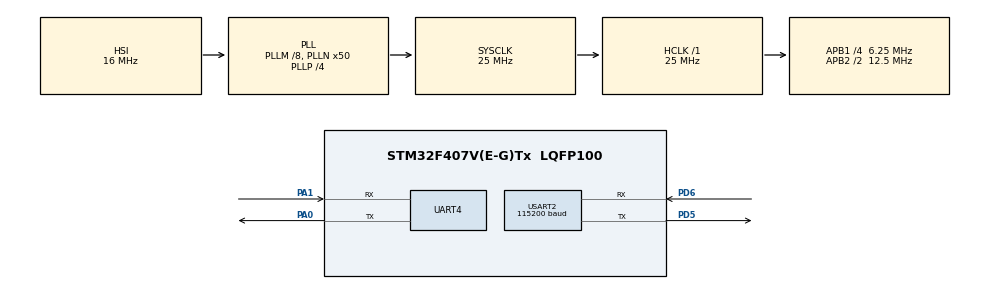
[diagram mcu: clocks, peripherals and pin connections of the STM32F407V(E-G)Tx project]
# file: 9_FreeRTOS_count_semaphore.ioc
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Mcu.Family=STM32F4
Mcu.Name=STM32F407V(E-G)Tx
Mcu.Package=LQFP100
NVIC.PriorityGroup=NVIC_PRIORITYGROUP_4
NVIC.TIM6_DAC_IRQn=true\:0\:0\:false\:false\:true\:false\:true
NVIC.TimeBase=TIM6_DAC_IRQn
NVIC.TimeBaseIP=TIM6
NVIC.UART4_IRQn=true\:6\:0\:true\:false\:true\:true\:true
NVIC.USART2_IRQn=true\:6\:0\:true\:false\:true\:true\:true
PA0-WKUP.Mode=Asynchronous
PA0-WKUP.Signal=UART4_TX
PA1.Mode=Asynchronous
PA1.Signal=UART4_RX
PA13.Mode=Serial_Wire
PA13.Signal=SYS_JTMS-SWDIO
PA14.Mode=Serial_Wire
PA14.Signal=SYS_JTCK-SWCLK
PD5.Mode=Asynchronous
PD5.Signal=USART2_TX
PD6.Mode=Asynchronous
PD6.Signal=USART2_RX
ProjectManager.HeapSize=0x200
ProjectManager.StackSize=0x400
ProjectManager.TargetToolchain=STM32CubeIDE
RCC.48MHZClocksFreq_Value=14285714.285714285
RCC.AHBFreq_Value=25000000
RCC.APB1CLKDivider=RCC_HCLK_DIV4
RCC.APB1Freq_Value=6250000
RCC.APB1TimFreq_Value=12500000
RCC.APB2CLKDivider=RCC_HCLK_DIV2
RCC.APB2Freq_Value=12500000
RCC.APB2TimFreq_Value=25000000
RCC.CortexFreq_Value=25000000
RCC.HCLKFreq_Value=25000000
RCC.HSE_VALUE=8000000
RCC.HSI_VALUE=16000000
RCC.LSE_VALUE=32768
RCC.PLLM=8
RCC.PLLN=50
RCC.PLLP=RCC_PLLP_DIV4
RCC.PLLQ=7
RCC.SYSCLKFreq_VALUE=25000000
RCC.SYSCLKSource=RCC_SYSCLKSOURCE_PLLCLK
RCC.VCOOutputFreq_Value=100000000
UART4.VirtualMode=Asynchronous
USART2.BaudRate=115200
USART2.VirtualMode=VM_ASYNC
VP_RTC_VS_RTC_Activate.Mode=RTC_Enabled
VP_SYS_VS_tim6.Mode=TIM6
board=STM32F407G-DISC1

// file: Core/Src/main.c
/* USER CODE BEGIN Header */
/**
  ******************************************************************************
  * @file           : main.c
  * @brief          : Main program body
  ******************************************************************************
  * @attention
  *
  * <h2><center>&copy; Copyright (c) 2023 STMicroelectronics.
  * All rights reserved.</center></h2>
  *
  * This software component is licensed by ST under BSD 3-Clause license,
  * the "License"; You may not use this file except in compliance with the
  * License. You may obtain a copy of the License at:
  *                        opensource.org/licenses/BSD-3-Clause
  *
  ******************************************************************************
  */
/* USER CODE END Header */
#include "main.h"

/* USER CODE BEGIN Includes */
#include <stdio.h>
#include "FreeRTOS.h"
#include "task.h"
#include "queue.h"
#include <string.h>
#include "stdbool.h"
#include "esp8266_driver.h"

/* USER CODE END Includes */

/* USER CODE BEGIN PM */
#define DWT_CTRL  (*(volatile uint32_t*) 0xE0001000 )  //BY:
#define STACK_SIZE 200
#define MEDIUM_PRI 2
#define HIGH_PRI 3
/* USER CODE END PM */

RTC_HandleTypeDef hrtc;

UART_HandleTypeDef huart4;
UART_HandleTypeDef huart2;

void SystemClock_Config(void);
static void MX_GPIO_Init(void);
static void MX_RTC_Init(void);
static void MX_USART2_UART_Init(void);
static void MX_UART4_Init(void);
/* USER CODE BEGIN PFP */

/*
volatile uint8_t index_of_UART_data = 0;
volatile uint8_t receiving_data_from_USART_2;
volatile uint8_t receiving_data_from_USART_4;
volatile char received_command_from_UART[LOG_MAX_COMMAND_LENGTH];*/

TaskHandle_t GS_task_handle = NULL;    // Task i tutan bir address. vTaskDelete( xHandle );
TaskHandle_t FB_task_handle = NULL;    // xTaskGetHandle("Command_handling_task") bu yemedi notify gönderemedim
TaskHandle_t User_interface_task_handle = NULL;
TaskHandle_t Command_task_handle = NULL;

/* USER CODE END PFP */

int main(void)
{

  /* MCU Configuration--------------------------------------------------------*/

  /* Reset of all peripherals, Initializes the Flash interface and the Systick. */
  HAL_Init();

  /* Configure the system clock */
  SystemClock_Config();

  /* Initialize all configured peripherals */
  MX_GPIO_Init();
  MX_RTC_Init();
  MX_USART2_UART_Init();
  MX_UART4_Init();
  /* USER CODE BEGIN 2 */
  DWT_CTRL |= 1;

  SEGGER_SYSVIEW_Conf();
  SEGGER_SYSVIEW_Start();

  init_esp8266(STATION_MODE);

  queue_create();
  task_create();

  enable_UART_IT(&huart2);
  enable_UART_IT(&huart4);

  vTaskStartScheduler();   // schedular ı başlat
  /* USER CODE END 2 */

  /* Infinite loop */
  while (1)
  {

  }
}

void SystemClock_Config(void)
{
  RCC_OscInitTypeDef RCC_OscInitStruct = {0};
  RCC_ClkInitTypeDef RCC_ClkInitStruct = {0};
  RCC_PeriphCLKInitTypeDef PeriphClkInitStruct = {0};

  /** Configure the main internal regulator output voltage
  */
  __HAL_RCC_PWR_CLK_ENABLE();
  __HAL_PWR_VOLTAGESCALING_CONFIG(PWR_REGULATOR_VOLTAGE_SCALE1);
  /** Initializes the RCC Oscillators according to the specified parameters
  * in the RCC_OscInitTypeDef structure.
  */
  RCC_OscInitStruct.OscillatorType = RCC_OSCILLATORTYPE_HSI|RCC_OSCILLATORTYPE_LSI;
  RCC_OscInitStruct.HSIState = RCC_HSI_ON;
  RCC_OscInitStruct.HSICalibrationValue = RCC_HSICALIBRATION_DEFAULT;
  RCC_OscInitStruct.LSIState = RCC_LSI_ON;
  RCC_OscInitStruct.PLL.PLLState = RCC_PLL_ON;
  RCC_OscInitStruct.PLL.PLLSource = RCC_PLLSOURCE_HSI;
  RCC_OscInitStruct.PLL.PLLM = 8;
  RCC_OscInitStruct.PLL.PLLN = 50;
  RCC_OscInitStruct.PLL.PLLP = RCC_PLLP_DIV4;
  RCC_OscInitStruct.PLL.PLLQ = 7;
  if (HAL_RCC_OscConfig(&RCC_OscInitStruct) != HAL_OK)
  {
    Error_Handler();
  }
  /** Initializes the CPU, AHB and APB buses clocks
  */
  RCC_ClkInitStruct.ClockType = RCC_CLOCKTYPE_HCLK|RCC_CLOCKTYPE_SYSCLK
                              |RCC_CLOCKTYPE_PCLK1|RCC_CLOCKTYPE_PCLK2;
  RCC_ClkInitStruct.SYSCLKSource = RCC_SYSCLKSOURCE_PLLCLK;
  RCC_ClkInitStruct.AHBCLKDivider = RCC_SYSCLK_DIV1;
  RCC_ClkInitStruct.APB1CLKDivider = RCC_HCLK_DIV4;
  RCC_ClkInitStruct.APB2CLKDivider = RCC_HCLK_DIV2;

  if (HAL_RCC_ClockConfig(&RCC_ClkInitStruct, FLASH_LATENCY_0) != HAL_OK)
  {
    Error_Handler();
  }
  PeriphClkInitStruct.PeriphClockSelection = RCC_PERIPHCLK_RTC;
  PeriphClkInitStruct.RTCClockSelection = RCC_RTCCLKSOURCE_LSI;
  if (HAL_RCCEx_PeriphCLKConfig(&PeriphClkInitStruct) != HAL_OK)
  {
    Error_Handler();
  }
}

static void MX_RTC_Init(void)
{

  /** Initialize RTC Only
  */
  hrtc.Instance = RTC;
  hrtc.Init.HourFormat = RTC_HOURFORMAT_24;
  hrtc.Init.AsynchPrediv = 127;
  hrtc.Init.SynchPrediv = 255;
  hrtc.Init.OutPut = RTC_OUTPUT_DISABLE;
  hrtc.Init.OutPutPolarity = RTC_OUTPUT_POLARITY_HIGH;
  hrtc.Init.OutPutType = RTC_OUTPUT_TYPE_OPENDRAIN;
  if (HAL_RTC_Init(&hrtc) != HAL_OK)
  {
    Error_Handler();
  }

}

static void MX_UART4_Init(void)
{

  huart4.Instance = UART4;
  huart4.Init.BaudRate = 115200;
  huart4.Init.WordLength = UART_WORDLENGTH_8B;
  huart4.Init.StopBits = UART_STOPBITS_1;
  huart4.Init.Parity = UART_PARITY_NONE;
  huart4.Init.Mode = UART_MODE_TX_RX;
  huart4.Init.HwFlowCtl = UART_HWCONTROL_NONE;
  huart4.Init.OverSampling = UART_OVERSAMPLING_16;
  if (HAL_UART_Init(&huart4) != HAL_OK)
  {
    Error_Handler();
  }

}

static void MX_USART2_UART_Init(void)
{

  huart2.Instance = USART2;
  huart2.Init.BaudRate = 115200;
  huart2.Init.WordLength = UART_WORDLENGTH_8B;
  huart2.Init.StopBits = UART_STOPBITS_1;
  huart2.Init.Parity = UART_PARITY_NONE;
  huart2.Init.Mode = UART_MODE_TX_RX;
  huart2.Init.HwFlowCtl = UART_HWCONTROL_NONE;
  huart2.Init.OverSampling = UART_OVERSAMPLING_16;
  if (HAL_UART_Init(&huart2) != HAL_OK)
  {
    Error_Handler();
  }

}

static void MX_GPIO_Init(void)
{

  /* GPIO Ports Clock Enable */
  __HAL_RCC_GPIOA_CLK_ENABLE();
  __HAL_RCC_GPIOD_CLK_ENABLE();

}

/* USER CODE BEGIN 4 */
void enable_UART_IT(UART_HandleTypeDef *huart)
{
	if(huart->Instance == USART2)
		enable_receive_USB_IT();
	else if(huart->Instance == UART4)
		enable_receive_esp8266_IT();
}

int send_to_UART(uint8_t * pData, uint16_t Size)
{
	HAL_UART_Transmit(&huart2, pData, Size, HAL_MAX_DELAY);
	return true;
}

void task_create()
{
	BaseType_t status;

	status = xTaskCreate(GS_task_handler,"GS",STACK_SIZE,NULL,HIGH_PRI,&GS_task_handle);
	configASSERT(status == pdPASS);

	status = xTaskCreate(FB_task_handler,"FB",STACK_SIZE,NULL,HIGH_PRI,&FB_task_handle);
	configASSERT(status == pdPASS);

	status = xTaskCreate(user_interface_task_handler,"UI",STACK_SIZE,NULL,HIGH_PRI,&User_interface_task_handle);
	configASSERT(status == pdPASS);

  status = xTaskCreate(command_task_handler,"CMD",STACK_SIZE,NULL,HIGH_PRI,&Command_task_handle);
	configASSERT(status == pdPASS);
}

void queue_create()
{
	esp8266_input_queue = xQueueCreate(SIZE_OF_PRINT_QUE, ESP8266_MAX_COMMAND_LENGTH * sizeof(char));
	configASSERT(esp8266_input_queue != NULL);

	q_read_data = xQueueCreate(SIZE_OF_READ_DATA_QUE,sizeof(char[LOG_MAX_COMMAND_LENGTH]));
	configASSERT(q_read_data != NULL);
}

/* USER CODE END 4 */

 /**
  * @brief  Period elapsed callback in non blocking mode
  * @note   This function is called  when TIM6 interrupt took place, inside
  * HAL_TIM_IRQHandler(). It makes a direct call to HAL_IncTick() to increment
  * a global variable "uwTick" used as application time base.
  * @param  htim : TIM handle
  * @retval None
  */
void HAL_TIM_PeriodElapsedCallback(TIM_HandleTypeDef *htim)
{
  if (htim->Instance == TIM6) {
    HAL_IncTick();
  }
}

void Error_Handler(void)
{
  __disable_irq();
  while (1)
  {
  }
}

/************************ (C) COPYRIGHT STMicroelectronics *****END OF FILE****/
